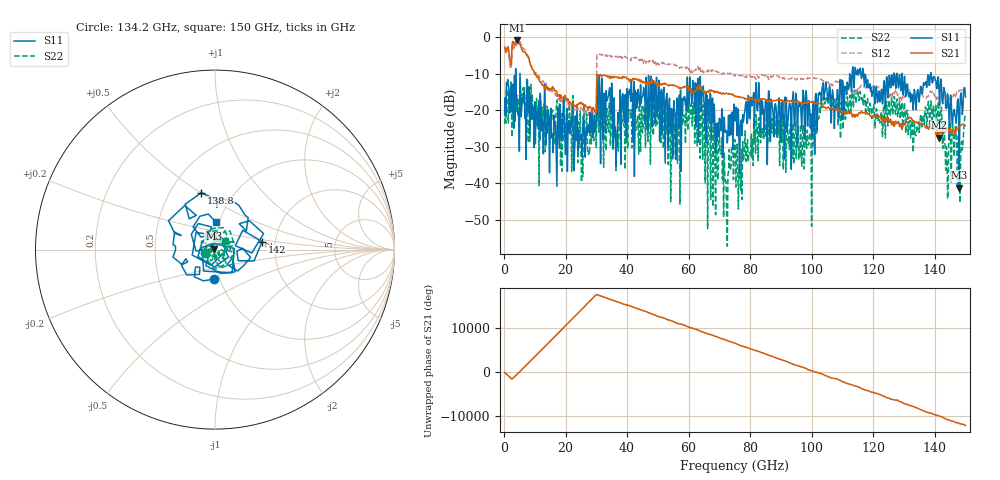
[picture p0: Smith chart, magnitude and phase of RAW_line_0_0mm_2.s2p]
!  2-Port S-parameters saved by WinCal
! VAR NAME=RAW_LRRM_line_0mm_2
! VAR DATE=08/08/2022 22:09:24
! VAR FILENAME=RAW_LRRM_line_0mm_2.S2P
! VAR MeasName=S-Parameters (CALIBRATED_DATA) read from VNA (MS4647B)
! VAR MeasDate=26-Apr-22 15:42:36
! VAR PHYS_PORTS=1,2
! VAR ObjTypeName=DATASET
! VAR IndexType=Frequency
! VAR ChuckHeaterState=Unknown
! VAR ChuckTemp=NaN
! VAR ChuckTempUnits=Unknown
# Hz S RI R 50
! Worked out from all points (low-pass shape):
!   750 points, 200 MHz to 150 GHz, reference 50 ohm
!   highest |S21| = -0.93 dB at 4.2 GHz (marker M1); lowest = -27.6 dB at 141.4 GHz (marker M2)
!   |S21| within 3 dB of the highest: 697.3 MHz to 1.582 GHz (884.4 MHz wide, 77.6 % of centre); 2.539 GHz to 6.047 GHz (3.508 GHz wide, 81.7 % of centre)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
!   lowest |S11| = -41.2 dB at 148 GHz (marker M3), VSWR 1.02, Z = 49.3 + j0.46 ohm
!   |S11| at or under -10 dB: 5.202 GHz to 113.2 GHz (108 GHz wide, 182 % of centre); 116.9 GHz to 126.8 GHz (9.919 GHz wide, 8.14 % of centre); 138.8 GHz to end of sweep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
!   |S22| runs from -57.2 to -11.1 dB; largest |S21 - S12| = 1.7
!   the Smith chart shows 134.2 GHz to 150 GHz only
!   S11 on the Smith chart (normalised r, x): 134.2 GHz: 0.93, -0.32; 138.8 GHz: 0.71, +0.50; 142 GHz: 1.70, +0.16; 150 GHz: 0.97, +0.30
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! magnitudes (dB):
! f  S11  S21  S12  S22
! 200 MHz  -21.1  -2.8  -2.6  -23.8
! 4.2 GHz  -16.8  -0.9  -1.5  -15.9
! 25.2 GHz  -27.5  -17.9  -19.6  -39.7
! 29.4 GHz  -21.4  -20.3  -21.8  -22.2
! 30.8 GHz  -15.7  -10.5  -4.9  -26.0
! 34.6 GHz  -18.4  -10.8  -5.0  -29.8
! 36.6 GHz  -29.0  -11.0  -5.3  -29.1
! 41 GHz  -15.6  -11.7  -6.0  -21.0
! 50.2 GHz  -17.3  -12.9  -7.5  -22.4
! 55.4 GHz  -20.2  -13.2  -7.7  -23.7
! 64.6 GHz  -15.8  -14.5  -9.2  -33.4
! 72 GHz  -26.1  -15.5  -9.9  -39.4
! 75.2 GHz  -22.9  -16.1  -10.4  -29.4
! 100.2 GHz  -27.2  -17.8  -11.1  -31.7
! 104.4 GHz  -14.8  -19.2  -11.9  -18.4
! 125.2 GHz  -10.5  -23.3  -16.7  -17.3
! 134.2 GHz  -15.7  -23.5  -16.4  -24.4
! 138.8 GHz  -9.7  -24.8  -14.9  -17.5
! 141.4 GHz  -13.7  -27.6  -18.0  -19.4
! 142 GHz  -11.5  -26.0  -16.3  -20.0
! 148 GHz  -41.2  -24.4  -14.6  -32.8
! 150 GHz  -16.4  -24.2  -15.0  -22.6
